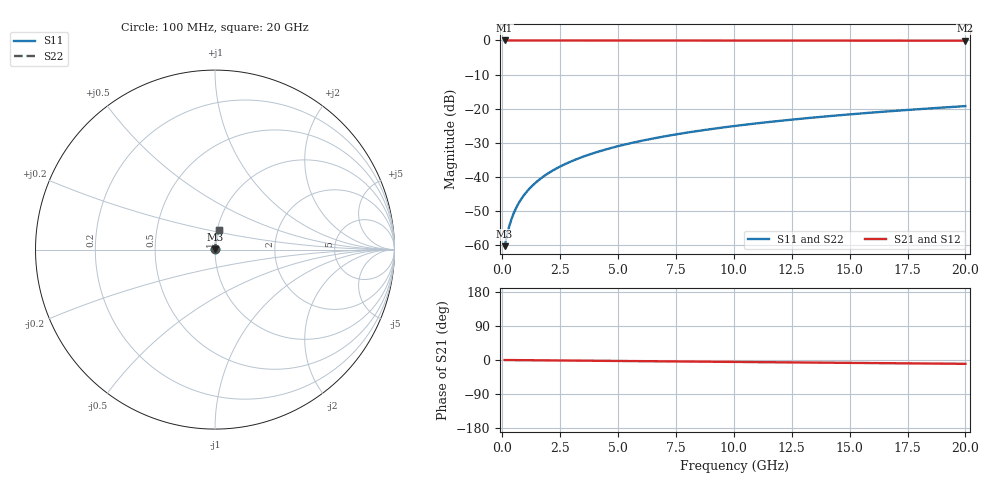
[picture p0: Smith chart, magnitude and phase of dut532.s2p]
! Touchstone file exported from HFSS 2026.1.0
!  File:  C:/ffzhzh/LocalFiles/Ansys_Project_Files/temp_train_TSV_532_1783023781_53980.aedt
!  Generated:  04:25:25 AM Jul  3, 2026
!  Design:  TSV
!  Project:  temp_train_TSV_532_1783023781_53980
! Variables:
!  h_bsmrdl = 2um
!  h_ox = 20um
!  h_rdl = 5um
!  h_sub = 75.17um
!  h_tmrdl = 5um
!  h_tsv = 75.17um
!  h_via = 3um
!  l_bsmrdl = 300um
!  l_sub = 406.76um
!  l_tmrdl = 200um
!  m_sub = 200um
!  pitch = 45.88um
!  r_tsv = 3.38um
!  s_tmrdl = 10um
!  w_bsmrdl = 18um
!  w_sub = 500um
!  w_tmrdl = 12um
!  x_tsv_center1 = 206um
!  x_tsv_center2 = 524um
!  x_tsv_center3 = 736um
!  x_tsv_center4 = 1054um
!  x_tsv_center5 = 1266um
!  x_tsv_center6 = 1584um
# GHz S MA R 50.000000
! Terminal data exported
! Port[1] = TSV1_1_T1
! Port[2] = TSV1_1_T2
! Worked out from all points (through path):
!   200 points, 100 MHz to 20 GHz, reference 50 ohm
!   highest |S21| = -0.01 dB at 100 MHz (marker M1); lowest = -0.1 dB at 20 GHz (marker M2)
!   group delay of S21, straight-line fit = 1.4 ps
!   lowest |S11| = -60.2 dB at 100 MHz (marker M3), VSWR 1.00, Z = 50.1 + j0.0584 ohm
!   |S11| at or under -10 dB: start of sweep to end of sweep
!   |S22| runs from -60.2 to -19.2 dB; largest |S21 - S12| = 3.4e-15
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0.1  0.0009735 36.8  0.9992 -0.1  0.9992 -0.1  0.0009735 36.8
! Gamma 0 0 0 0
! Port Impedance 50 0 50 0
0.2  0.001405 55.8  0.9992 -0.1  0.9992 -0.1  0.001405 55.8
0.3  0.001912 65.2  0.9992 -0.2  0.9992 -0.2  0.001912 65.2
0.4  0.002447 70.6  0.9992 -0.2  0.9992 -0.2  0.002447 70.6
0.5  0.002994 74.0  0.9992 -0.3  0.9992 -0.3  0.002994 74.0
0.6  0.003547 76.3  0.9992 -0.3  0.9992 -0.3  0.003547 76.3
0.8  0.004665 79.3  0.9992 -0.4  0.9992 -0.4  0.004665 79.3
1.1  0.006356 81.7  0.9991 -0.6  0.9991 -0.6  0.006356 81.7
1.5  0.00862 83.4  0.9991 -0.8  0.9991 -0.8  0.00862 83.4
1.8  0.01032 84.0  0.999 -0.9  0.999 -0.9  0.01032 84.0
2.1  0.01202 84.5  0.999 -1.1  0.999 -1.1  0.01202 84.5
2.7  0.01541 84.9  0.9989 -1.4  0.9989 -1.4  0.01541 84.9
3.5  0.01992 85.0  0.9987 -1.8  0.9987 -1.8  0.01992 85.0
4.2  0.02385 85.0  0.9985 -2.2  0.9985 -2.2  0.02385 85.0
5  0.02831 84.8  0.9983 -2.6  0.9983 -2.6  0.02831 84.8
5.9  0.03331 84.5  0.998 -3.0  0.998 -3.0  0.03331 84.5
6.8  0.03827 84.2  0.9977 -3.5  0.9977 -3.5  0.03827 84.2
8.3  0.0465 83.6  0.9971 -4.2  0.9971 -4.2  0.0465 83.6
10.1  0.0563 82.8  0.9964 -5.1  0.9964 -5.1  0.0563 82.8
13.4  0.07413 81.4  0.9949 -6.8  0.9949 -6.8  0.07413 81.4
16.7  0.0918 79.9  0.9932 -8.4  0.9932 -8.4  0.0918 79.9
20  0.1093 78.4  0.9912 -10.1  0.9912 -10.1  0.1093 78.4
